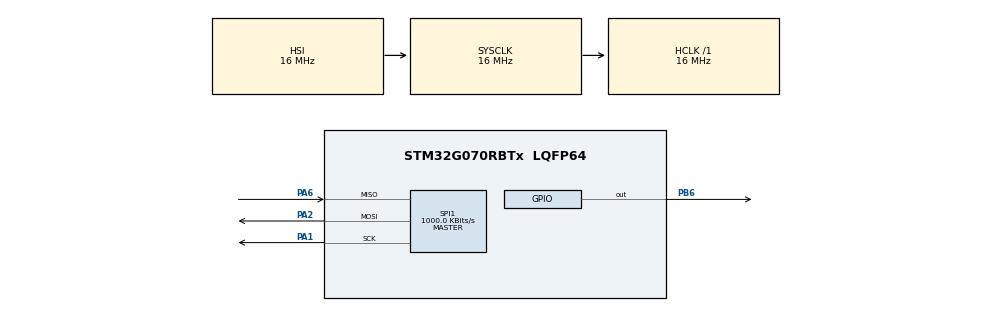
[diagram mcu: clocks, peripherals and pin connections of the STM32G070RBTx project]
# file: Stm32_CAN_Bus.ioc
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Mcu.Family=STM32G0
Mcu.Name=STM32G070RBTx
Mcu.Package=LQFP64
PA1.Mode=Full_Duplex_Master
PA1.Signal=SPI1_SCK
PA2.Mode=Full_Duplex_Master
PA2.Signal=SPI1_MOSI
PA6.Mode=Full_Duplex_Master
PA6.Signal=SPI1_MISO
PB6.PinState=GPIO_PIN_SET
PB6.Signal=GPIO_Output
ProjectManager.HeapSize=0x200
ProjectManager.StackSize=0x400
ProjectManager.TargetToolchain=STM32CubeIDE
RCC.AHBFreq_Value=16000000
RCC.CortexFreq_Value=16000000
RCC.EXTERNAL_CLOCK_VALUE=48000
RCC.HCLKFreq_Value=16000000
RCC.HSE_VALUE=8000000
RCC.HSI_VALUE=16000000
RCC.LSE_VALUE=32768
RCC.SYSCLKFreq_VALUE=16000000
RCC.VCOOutputFreq_Value=128000000
SPI1.BaudRatePrescaler=SPI_BAUDRATEPRESCALER_16
SPI1.CalculateBaudRate=1000.0 KBits/s
SPI1.DataSize=SPI_DATASIZE_8BIT
SPI1.Direction=SPI_DIRECTION_2LINES
SPI1.Mode=SPI_MODE_MASTER
SPI1.VirtualType=VM_MASTER
board=custom

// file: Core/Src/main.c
/* USER CODE BEGIN Header */
/**
  ******************************************************************************
  * @file           : main.c
  * @brief          : Main program body
  ******************************************************************************
  * @attention
  *
  * Copyright (c) 2026 STMicroelectronics.
  * All rights reserved.
  *
  * This software is licensed under terms that can be found in the LICENSE file
  * in the root directory of this software component.
  * If no LICENSE file comes with this software, it is provided AS-IS.
  *
  ******************************************************************************
  */
/* USER CODE END Header */
#include "main.h"

/* USER CODE BEGIN PD */
#define MCP_WRITE       0x02
#define MCP_READ        0x03
#define MCP_RESET       0xC0
#define MCP_CANSTAT     0x0E
#define MCP_CANCTRL     0x0F
#define MCP_CNF1        0x2A
#define MCP_CNF2        0x29
#define MCP_CNF3        0x28
#define MCP_RXB0CTRL    0x60
#define MCP_RXB0D0      0x66
#define MCP_CANINTF     0x2C
/* USER CODE END PD */

SPI_HandleTypeDef hspi1;

/* USER CODE BEGIN PV */
uint8_t rxData[8] = {0};
uint8_t msgReceived = 0;

/* USER CODE END PV */

void SystemClock_Config(void);
static void MX_GPIO_Init(void);
static void MX_SPI1_Init(void);

/*USER CODE BEGIN PFP*/
void MCP2515_CS_Low(void);
void MCP2515_CS_High(void);
void MCP2515_WriteRegister(uint8_t address, uint8_t value);
uint8_t MCP2515_ReadRegister(uint8_t address);
void MCP2515_Reset(void);
uint8_t MCP2515_Init(void);
uint8_t MCP2515_ReadMessage(uint8_t *data);
void MCP2515_SendMessage(uint16_t id, uint8_t *data, uint8_t len);

// 2. Fonksiyon Gövdeleri
void MCP2515_CS_Low(void) {
    HAL_GPIO_WritePin(GPIOB, GPIO_PIN_6, GPIO_PIN_RESET);
}

void MCP2515_CS_High(void) {
    HAL_GPIO_WritePin(GPIOB, GPIO_PIN_6, GPIO_PIN_SET);
}

void MCP2515_WriteRegister(uint8_t address, uint8_t value) {
    uint8_t txData[3] = {MCP_WRITE, address, value};
    MCP2515_CS_Low();
    HAL_SPI_Transmit(&hspi1, txData, 3, HAL_MAX_DELAY);
    MCP2515_CS_High();
}

uint8_t MCP2515_ReadRegister(uint8_t address) {
    uint8_t txData[2] = {MCP_READ, address};
    uint8_t rxValue = 0;
    MCP2515_CS_Low();
    HAL_SPI_Transmit(&hspi1, txData, 2, HAL_MAX_DELAY);
    HAL_SPI_Receive(&hspi1, &rxValue, 1, HAL_MAX_DELAY);
    MCP2515_CS_High();
    return rxValue;
}

void MCP2515_Reset(void) {
    uint8_t txData = MCP_RESET;
    MCP2515_CS_Low();
    HAL_SPI_Transmit(&hspi1, &txData, 1, HAL_MAX_DELAY);
    MCP2515_CS_High();
    HAL_Delay(10);
}

uint8_t MCP2515_Init(void) {
    MCP2515_Reset();

    uint8_t status = MCP2515_ReadRegister(MCP_CANSTAT);
    if ((status & 0xE0) != 0x80) return 0;

    // 8MHz Osilatör, 500kbps Baud Rate
    MCP2515_WriteRegister(MCP_CNF1, 0x00);
    MCP2515_WriteRegister(MCP_CNF2, 0x90);
    MCP2515_WriteRegister(MCP_CNF3, 0x02);

    MCP2515_WriteRegister(MCP_RXB0CTRL, 0x60); // Filtresiz tüm mesajları al
    MCP2515_WriteRegister(MCP_CANCTRL, 0x00);  // Normal Moda geç

    status = MCP2515_ReadRegister(MCP_CANSTAT);
    if ((status & 0xE0) == 0x00) return 1;
    return 0;
}

uint8_t MCP2515_ReadMessage(uint8_t *data) {
    uint8_t interruptStatus = MCP2515_ReadRegister(MCP_CANINTF);
    if (interruptStatus & 0x01) {
        for (int i = 0; i < 8; i++) {
            data[i] = MCP2515_ReadRegister(MCP_RXB0D0 + i);
        }
        MCP2515_WriteRegister(MCP_CANINTF, interruptStatus & ~0x01);
        return 1;
    }
    return 0;
}

void MCP2515_SendMessage(uint16_t id, uint8_t *data, uint8_t len) {
    MCP2515_WriteRegister(0x31, (uint8_t)(id >> 3));         // ID High
    MCP2515_WriteRegister(0x32, (uint8_t)((id & 0x07) << 5)); // ID Low
    MCP2515_WriteRegister(0x35, len & 0x0F);                  // Data Length

    for (uint8_t i = 0; i < len; i++) {
        MCP2515_WriteRegister(0x36 + i, data[i]);             // Data Payload
    }

    MCP2515_CS_Low();
    uint8_t rtsCmd = 0x81; // RTS TXB0
    HAL_SPI_Transmit(&hspi1, &rtsCmd, 1, HAL_MAX_DELAY);
    MCP2515_CS_High();
}
/* USER CODE END PFP */

int main(void)
{

  /* MCU Configuration--------------------------------------------------------*/

  /* Reset of all peripherals, Initializes the Flash interface and the Systick. */
  HAL_Init();

  /* Configure the system clock */
  SystemClock_Config();

  /* Initialize all configured peripherals */
  MX_GPIO_Init();
  MX_SPI1_Init();
  /* USER CODE BEGIN 2 */
  MCP2515_Init();
  /* USER CODE END 2 */

  /* Infinite loop */
  /* USER CODE BEGIN WHILE */
  while (1)
  {
	  if (MCP2515_ReadMessage(rxData)) {
	          msgReceived = 1;

	          // Yanıt paketimiz
	          uint8_t responseData[8] = {0xAA, 0xBB, 0xCC, 0xDD, 0x01, 0x02, 0x03, 0x04};

	          HAL_Delay(50);
	          MCP2515_SendMessage(0x321, responseData, 8); // Arduino'ya 0x321 ID'si ile yanıt at
	      }

	      HAL_Delay(10);
    /* USER CODE END WHILE */

  }
}

void SystemClock_Config(void)
{
  RCC_OscInitTypeDef RCC_OscInitStruct = {0};
  RCC_ClkInitTypeDef RCC_ClkInitStruct = {0};

  /** Configure the main internal regulator output voltage
  */
  HAL_PWREx_ControlVoltageScaling(PWR_REGULATOR_VOLTAGE_SCALE1);

  /** Initializes the RCC Oscillators according to the specified parameters
  * in the RCC_OscInitTypeDef structure.
  */
  RCC_OscInitStruct.OscillatorType = RCC_OSCILLATORTYPE_HSI;
  RCC_OscInitStruct.HSIState = RCC_HSI_ON;
  RCC_OscInitStruct.HSIDiv = RCC_HSI_DIV1;
  RCC_OscInitStruct.HSICalibrationValue = RCC_HSICALIBRATION_DEFAULT;
  RCC_OscInitStruct.PLL.PLLState = RCC_PLL_NONE;
  if (HAL_RCC_OscConfig(&RCC_OscInitStruct) != HAL_OK)
  {
    Error_Handler();
  }

  /** Initializes the CPU, AHB and APB buses clocks
  */
  RCC_ClkInitStruct.ClockType = RCC_CLOCKTYPE_HCLK|RCC_CLOCKTYPE_SYSCLK
                              |RCC_CLOCKTYPE_PCLK1;
  RCC_ClkInitStruct.SYSCLKSource = RCC_SYSCLKSOURCE_HSI;
  RCC_ClkInitStruct.AHBCLKDivider = RCC_SYSCLK_DIV1;
  RCC_ClkInitStruct.APB1CLKDivider = RCC_HCLK_DIV1;

  if (HAL_RCC_ClockConfig(&RCC_ClkInitStruct, FLASH_LATENCY_0) != HAL_OK)
  {
    Error_Handler();
  }
}

/**
  * @brief SPI1 Initialization Function
  * @param None
  * @retval None
  **/
void MX_SPI1_Init(void)
{

  /* SPI1 parameter configuration*/
  hspi1.Instance = SPI1;
  hspi1.Init.Mode = SPI_MODE_MASTER;
  hspi1.Init.Direction = SPI_DIRECTION_2LINES;
  hspi1.Init.DataSize = SPI_DATASIZE_8BIT;
  hspi1.Init.CLKPolarity = SPI_POLARITY_LOW;
  hspi1.Init.CLKPhase = SPI_PHASE_1EDGE;
  hspi1.Init.NSS = SPI_NSS_SOFT;
  hspi1.Init.BaudRatePrescaler = SPI_BAUDRATEPRESCALER_16;
  hspi1.Init.FirstBit = SPI_FIRSTBIT_MSB;
  hspi1.Init.TIMode = SPI_TIMODE_DISABLE;
  hspi1.Init.CRCCalculation = SPI_CRCCALCULATION_DISABLE;
  hspi1.Init.CRCPolynomial = 7;
  hspi1.Init.CRCLength = SPI_CRC_LENGTH_DATASIZE;
  hspi1.Init.NSSPMode = SPI_NSS_PULSE_ENABLE;
  if (HAL_SPI_Init(&hspi1) != HAL_OK)
  {
    Error_Handler();
  }

}

void MX_GPIO_Init(void)
{
  GPIO_InitTypeDef GPIO_InitStruct = {0};

  /* GPIO Ports Clock Enable */
  __HAL_RCC_GPIOA_CLK_ENABLE();
  __HAL_RCC_GPIOB_CLK_ENABLE();

  /*Configure GPIO pin Output Level */
  HAL_GPIO_WritePin(GPIOB, GPIO_PIN_6, GPIO_PIN_SET);

  /*Configure GPIO pin : PB6 */
  GPIO_InitStruct.Pin = GPIO_PIN_6;
  GPIO_InitStruct.Mode = GPIO_MODE_OUTPUT_PP;
  GPIO_InitStruct.Pull = GPIO_NOPULL;
  GPIO_InitStruct.Speed = GPIO_SPEED_FREQ_LOW;
  HAL_GPIO_Init(GPIOB, &GPIO_InitStruct);

}

void Error_Handler(void)
{
  __disable_irq();
  while (1)
  {
  }
}
